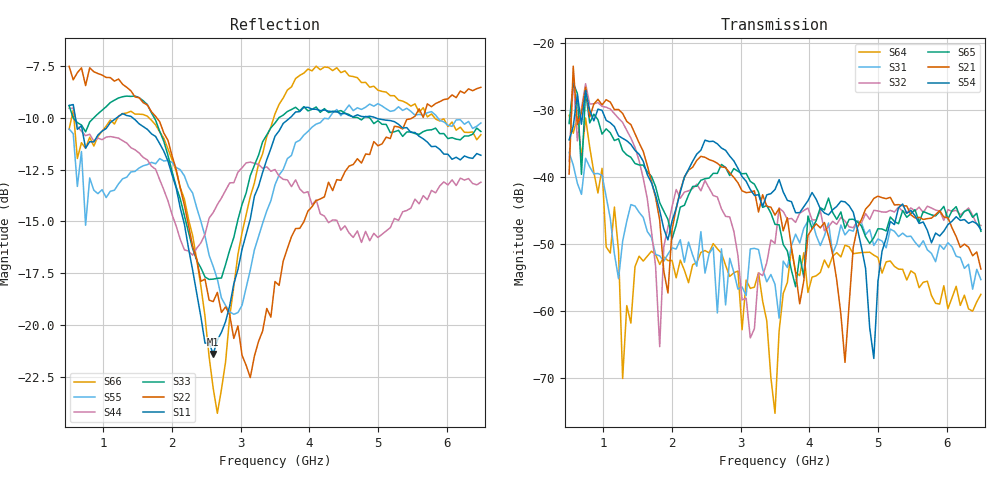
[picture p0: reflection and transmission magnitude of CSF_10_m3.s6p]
!Keysight Technologies,M9804A,MY58100912,A.14.10.03
!Date: Thursday, April 27, 2023 10:28:33
!Correction: S11(C  6-Port  )
!S12(C  6-Port  )
!S13(C  6-Port  )
!S14(C  6-Port  )
!S15(C  6-Port  )
!S16(C  6-Port  )
!S21(C  6-Port  )
!S22(C  6-Port  )
!S23(C  6-Port  )
!S24(C  6-Port  )
!S25(C  6-Port  )
!S26(C  6-Port  )
!S31(C  6-Port  )
!S32(C  6-Port  )
!S33(C  6-Port  )
!S34(C  6-Port  )
!S35(C  6-Port  )
!S36(C  6-Port  )
!S41(C  6-Port  )
!S42(C  6-Port  )
!S43(C  6-Port  )
!S44(C  6-Port  )
!S45(C  6-Port  )
!S46(C  6-Port  )
!S51(C  6-Port  )
!S52(C  6-Port  )
!S53(C  6-Port  )
!S54(C  6-Port  )
!S55(C  6-Port  )
!S56(C  6-Port  )
!S61(C  6-Port  )
!S62(C  6-Port  )
!S63(C  6-Port  )
!S64(C  6-Port  )
!S65(C  6-Port  )
!S66(C  6-Port  )
!S6P File: Measurement: :
# Hz S  RI  R 50
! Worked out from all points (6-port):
!   101 points, 500 MHz to 6.5 GHz, reference 50 ohm
!   strongest paths, dB at 500 MHz, 2 GHz, 3.5 GHz, 5 GHz, 6.5 GHz:
!     S54: -34.4, -46.6, -41.9, -55.6, -47.9
!     S21: -39.6, -47.9, -45.7, -42.9, -53.8
!     S65: -32.0, -49.2, -47.1, -47.7, -48.1
!     S32: -37.6, -44.4, -49.9, -45.1, -47.2
!     S31: -36.3, -50.6, -56.0, -49.3, -55.3
!     S64: -30.8, -52.5, -75.3, -52.0, -57.5
!   lowest |S11| = -21.4 dB at 2.6 GHz (marker M1), VSWR 1.19, Z = 42.5 + j2.2 ohm
!   |S11| at or under -10 dB: 592.7 MHz to 1.188 GHz (595.5 MHz wide, 66.9 % of centre); 1.431 GHz to 3.714 GHz (2.283 GHz wide, 88.7 % of centre); 4.974 GHz to end of sweep
